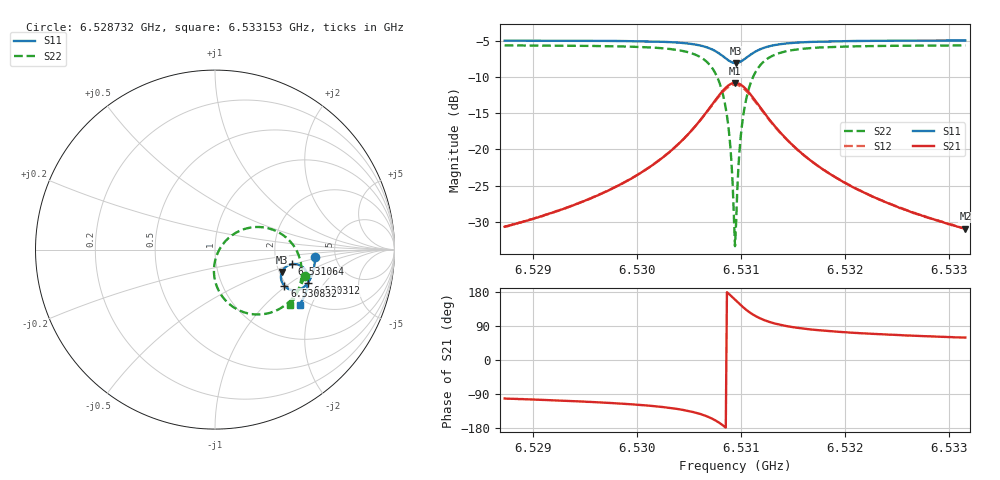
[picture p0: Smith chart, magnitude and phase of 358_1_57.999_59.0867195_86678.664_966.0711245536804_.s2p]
#  HZ  S  RI  R  50.00
! Rohde & Schwarz Vector Network Analyzer
! Rohde-Schwarz,ZNB20-2Port,1311601062101988,3.16
! Created: UTC 3/21/2024, 1:06:17 AM
! freq[Hz]  re:S11  im:S11  re:S21  im:S21  re:S12  im:S12  re:S22  im:S22
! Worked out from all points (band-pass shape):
!   401 points, 6.528732 GHz to 6.533153 GHz, reference 50 ohm
!   highest |S21| = -10.83 dB at 6.530942 GHz (marker M1); lowest = -30.9 dB at 6.533153 GHz (marker M2)
!   |S21| within 3 dB of the highest: 6.530722 GHz to 6.531165 GHz (442.7 kHz wide, 0.00678 % of centre)
!   lowest |S11| = -8.1 dB at 6.530954 GHz (marker M3), VSWR 2.30, Z = 103 - j30.6 ohm
!   |S11| at or under -10 dB: nowhere
!   |S22| runs from -33.4 to -5.7 dB; largest |S21 - S12| = 0.011
!   S11 on the Smith chart (normalised r, x): 6.528732 GHz: 3.50, -0.44; 6.530312 GHz: 2.60, -1.39; 6.530832 GHz: 1.94, -0.97; 6.531064 GHz: 2.42, -0.49; 6.533153 GHz: 1.82, -1.65
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6.5287318e9  0.5598 -0.0429  -0.0058 -0.0287  -0.00637 -0.0285  0.4999 -0.1463
6.5294724e9  0.5508 -0.1036  -0.0145 -0.041  -0.0154 -0.0405  0.4715 -0.2134
6.530213e9  0.5241 -0.175  -0.0458 -0.0702  -0.0477 -0.0692  0.3953 -0.3061
6.5303124e9  0.5165 -0.1864  -0.0564 -0.077  -0.0586 -0.0756  0.3726 -0.3224
6.5306661e9  0.454 -0.226  -0.1521 -0.0953  -0.1544 -0.0894  0.1907 -0.357
6.5307656e9  0.4152 -0.2217  -0.212 -0.0722  -0.2118 -0.0638  0.0879 -0.31
6.5308319e9  0.3864 -0.2022  -0.255 -0.0283  -0.251 -0.0192  0.0212 -0.2296
6.5308651e9  0.3749 -0.185  -0.2708 0.00517  -0.2645 0.0136  -0.000128 -0.171
6.5308872e9  0.3697 -0.1712  -0.2767 0.0314  -0.2691 0.0388  -0.00591 -0.1265
6.5308983e9  0.3683 -0.164  -0.2779 0.0451  -0.2696 0.0521  -0.00561 -0.1035
6.5309204e9  0.3675 -0.1483  -0.2761 0.0738  -0.2669 0.0791  0.00171 -0.0567
6.5309314e9  0.3684 -0.1405  -0.2732 0.088  -0.2636 0.0927  0.0088 -0.0336
6.5309425e9  0.3702 -0.1328  -0.2686 0.1022  -0.2591 0.1056  0.0183 -0.0112
6.5309535e9  0.3728 -0.1253  -0.2629 0.1156  -0.2532 0.1183  0.03 0.0101
6.5309977e9  0.3904 -0.0999  -0.2282 0.1613  -0.2195 0.1606  0.0941 0.0794
6.5310309e9  0.4084 -0.0874  -0.195 0.1832  -0.1877 0.1812  0.1525 0.1106
6.5310641e9  0.4275 -0.0811  -0.1608 0.195  -0.1552 0.1923  0.2112 0.1246
6.5311414e9  0.466 -0.0844  -0.093 0.1933  -0.09 0.1908  0.3254 0.1098
6.531252e9  0.4984 -0.1069  -0.0358 0.1638  -0.0343 0.1624  0.4184 0.0461
6.531683e9  0.5199 -0.1827  0.0139 0.0811  0.0148 0.0808  0.483 -0.1301
6.5324236e9  0.4997 -0.2553  0.0165 0.0388  0.0172 0.0387  0.4556 -0.2454
6.5331531e9  0.4715 -0.3087  0.0145 0.0244  0.0151 0.0241  0.4202 -0.3076
